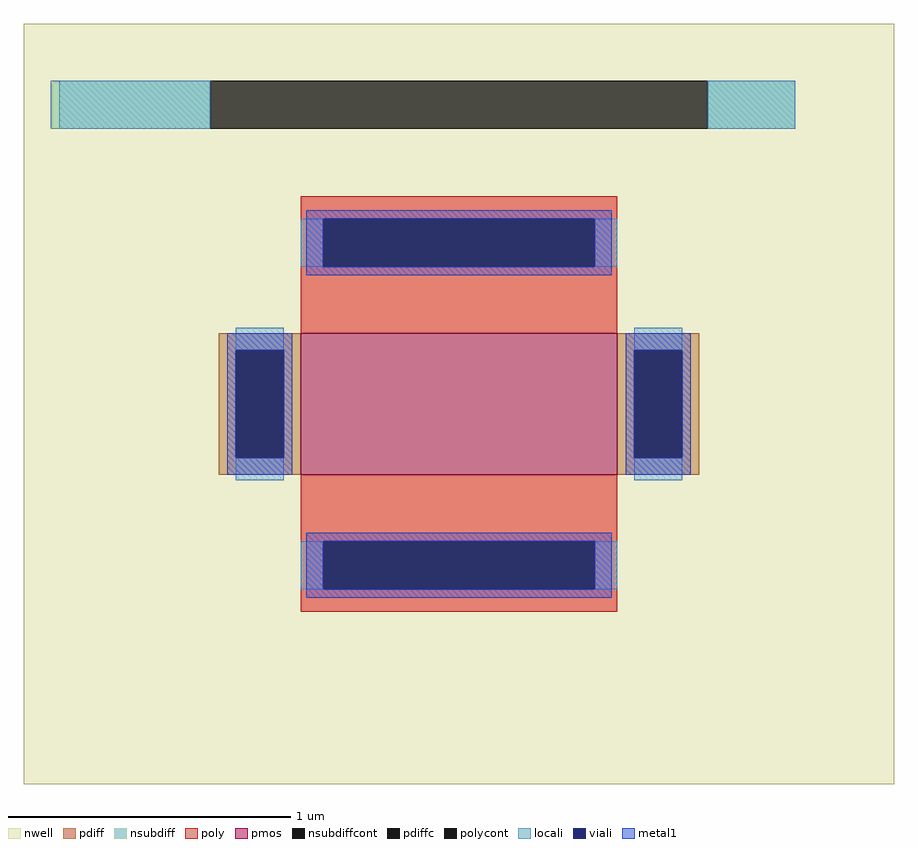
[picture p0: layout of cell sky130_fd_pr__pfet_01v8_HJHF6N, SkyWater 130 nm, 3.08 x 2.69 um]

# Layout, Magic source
magic
tech sky130A
magscale 1 2
<< nwell >>
rect -308 -269 308 269
<< pmos >>
rect -112 -50 112 50
<< pdiff >>
rect -170 38 -112 50
rect -170 -38 -158 38
rect -124 -38 -112 38
rect -170 -50 -112 -38
rect 112 38 170 50
rect 112 -38 124 38
rect 158 -38 170 38
rect 112 -50 170 -38
<< pdiffc >>
rect -158 -38 -124 38
rect 124 -38 158 38
<< nsubdiff >>
rect -289 195 -176 229
rect 176 195 238 229
<< nsubdiffcont >>
rect -176 195 176 229
<< poly >>
rect -112 131 112 147
rect -112 97 -96 131
rect 96 97 112 131
rect -112 50 112 97
rect -112 -97 112 -50
rect -112 -131 -96 -97
rect 96 -131 112 -97
rect -112 -147 112 -131
<< polycont >>
rect -96 97 96 131
rect -96 -131 96 -97
<< locali >>
rect -283 195 -176 229
rect 176 195 238 229
rect -112 97 -96 131
rect 96 97 112 131
rect -158 38 -124 54
rect -158 -54 -124 -38
rect 124 38 158 54
rect 124 -54 158 -38
rect -112 -131 -96 -97
rect 96 -131 112 -97
<< viali >>
rect -96 97 96 131
rect -158 -38 -124 38
rect 124 -38 158 38
rect -96 -131 96 -97
<< metal1 >>
rect -108 131 108 137
rect -108 97 -96 131
rect 96 97 108 131
rect -108 91 108 97
rect -164 38 -118 50
rect -164 -38 -158 38
rect -124 -38 -118 38
rect -164 -50 -118 -38
rect 118 38 164 50
rect 118 -38 124 38
rect 158 -38 164 38
rect 118 -50 164 -38
rect -108 -97 108 -91
rect -108 -131 -96 -97
rect 96 -131 108 -97
rect -108 -137 108 -131
<< properties >>
string FIXED_BBOX -255 -216 255 216
string gencell sky130_fd_pr__pfet_01v8
string library sky130
string parameters w 0.5 l 1.12 m 1 nf 1 diffcov 100 polycov 100 guard 1 glc 1 grc 1 gtc 1 gbc 1 tbcov 100 rlcov 100 topc 1 botc 1 poverlap 0 doverlap 1 lmin 0.15 wmin 0.42 compatible {sky130_fd_pr__pfet_01v8  sky130_fd_pr__pfet_01v8_lvt sky130_fd_pr__pfet_01v8_hvt  sky130_fd_pr__pfet_g5v0d10v5} full_metal 1 viasrc 100 viadrn 100 viagate 100 viagb 0 viagr 0 viagl 0 viagt 0
<< end >>
